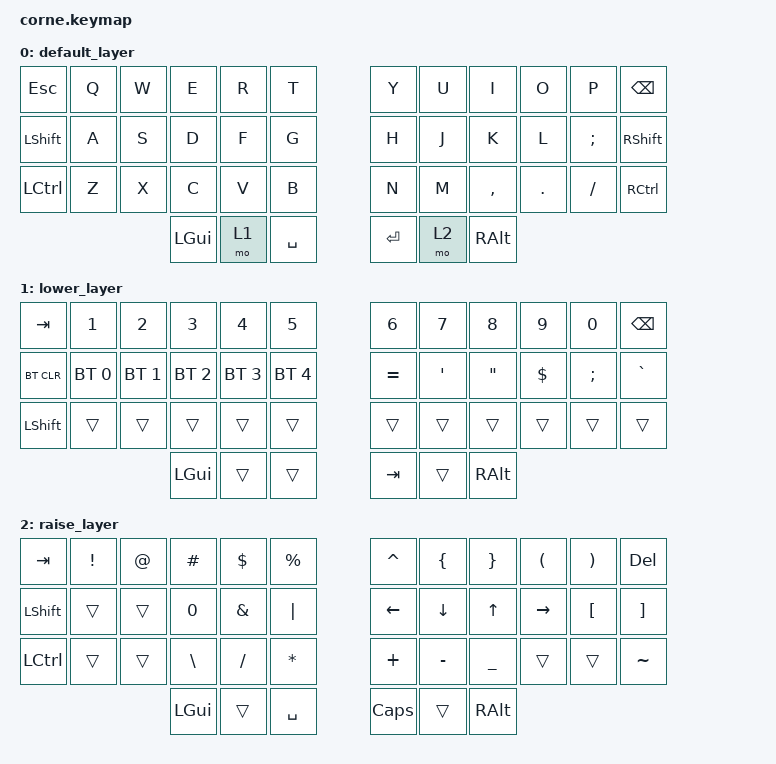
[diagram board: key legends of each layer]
/*
 * Copyright (c) 2020 The ZMK Contributors
 *
 * SPDX-License-Identifier: MIT
 */

#include <behaviors.dtsi>
#include <dt-bindings/zmk/keys.h>
#include <dt-bindings/zmk/bt.h>

/ {
        keymap {
                compatible = "zmk,keymap";

                default_layer {
// -----------------------------------------------------------------------------------------
// |  ESC |  Q  |  W  |  E  |  R  |  T  |   |  Y  |  U   |  I  |  O  |  P  | BSPC |
// | SHFT |  A  |  S  |  D  |  F  |  G  |   |  H  |  J   |  K  |  L  |  ;  | SHFT |
// | CTRL |  Z  |  X  |  C  |  V  |  B  |   |  N  |  M   |  ,  |  .  |  /  | CTRL |
//                    | GUI | LWR | SPC |   | ENT | RSE  | ALT |
                        bindings = <
   &kp ESC   &kp Q &kp W &kp E &kp R &kp T   &kp Y &kp U  &kp I     &kp O   &kp P    &kp BSPC
   &kp LSHFT &kp A &kp S &kp D &kp F &kp G   &kp H &kp J  &kp K     &kp L   &kp SEMI &kp RSHFT
   &kp LCTRL &kp Z &kp X &kp C &kp V &kp B   &kp N &kp M  &kp COMMA &kp DOT &kp FSLH &kp RCTRL
                  &kp LGUI &mo 1 &kp SPACE   &kp RET &mo 2 &kp RALT
                        >;
                };
                lower_layer {
// -----------------------------------------------------------------------------------------
// |  TAB |  1  |  2  |  3  |  4  |  5  |   |  6  |  7  |  8  |  9  |  0  | BSPC |
// | BTCLR| BT1 | BT2 | BT3 | BT4 | BT5 |   |  =  |  '  |  "  |  $  |  :  |  `   |
// | SHFT |     |     |     |     |     |   |     |     |     |     |     |      |
//                    | GUI |     |     |   | TAB |     | ALT |
                        bindings = <
   &kp TAB    &kp N1       &kp N2       &kp N3       &kp N4       &kp N5        &kp N6   &kp N7   &kp N8 &kp N9    &kp N0 &kp BSPC
   &bt BT_CLR &bt BT_SEL 0 &bt BT_SEL 1 &bt BT_SEL 2 &bt BT_SEL 3 &bt BT_SEL 4   &kp EQUAL &kp APOS  &kp DQT  &kp DLLR &kp SEMI &kp GRAVE
   &kp LSHFT  &trans       &trans       &trans       &trans       &trans         &trans   &trans   &trans &trans    &trans &trans
                                    &kp LGUI     &trans       &trans       &kp TAB  &trans   &kp RALT
                        >;
                };

                raise_layer {
// -----------------------------------------------------------------------------------------
// |  TAB |  !  |  @  |  #  |  $  |  %  |   |  ^   |  {  |  }  |  (  |  )  | DEL  |
// | SHFT |     |     |  0  |  &  | "|" |   | LFT  | DWN |  UP | RGT |  [  |  ]   |
// | CTRL |     |     |  \  |  /  |  *  |   |  +   |  -  |  _  |     |     |  ~   |
//                    | GUI |     | SPC |   | CAPS |     | ALT |
                        bindings = <
   &kp  TAB  &kp EXCL &kp AT &kp HASH &kp DLLR &kp PRCNT   &kp CARET &kp LBRC  &kp RBRC  &kp LPAR &kp RPAR &kp DEL
   &kp LSHFT &trans   &trans &kp N0   &kp AMPS &kp PIPE    &kp LEFT &kp DOWN &kp UP &kp RIGHT &kp LBKT  &kp RBKT 
   &kp LCTRL &trans   &trans &kp BSLH &kp FSLH &kp ASTRK   &kp PLUS  &kp MINUS &kp UNDER &trans   &trans   &kp TILDE
                             &kp LGUI &trans   &kp SPACE   &kp CAPS  &trans    &kp RALT
                        >;
                };
        };
};

/ {
    combos {
        compatible = "zmk,combos";
        combo_copy {
            timeout-ms = <50>;
            key-positions = <36 27>;
            bindings = <&kp K_COPY>;
        };
        combo_paste {
            timeout-ms = <50>;
            key-positions = <36 28>;
            bindings = <&kp K_PASTE>;
        };
        combo_cut {
            timeout-ms = <50>;
            key-positions = <36 26>;
            bindings = <&kp K_CUT>;
        };
    };
};
